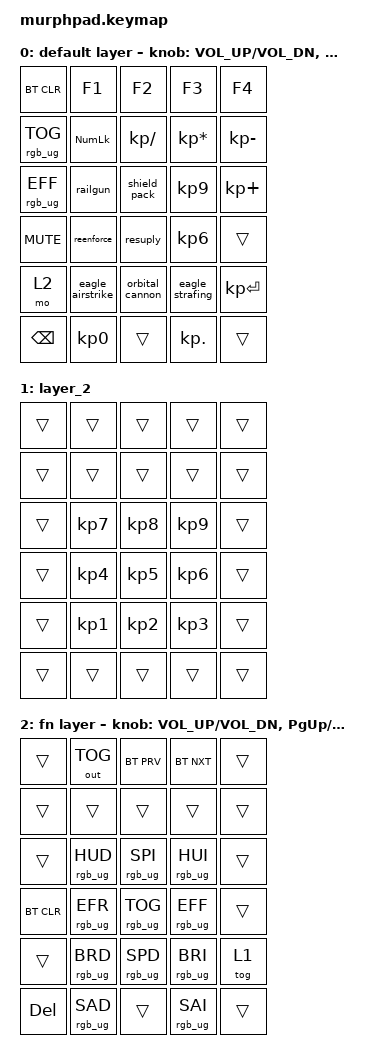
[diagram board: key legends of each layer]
/*
 * Copyright (c) 2021 Kyle McCreery
 *
 * SPDX-License-Identifier: MIT
 */

#include <behaviors.dtsi>
#include <dt-bindings/zmk/bt.h>
#include <dt-bindings/zmk/keys.h>
#include <dt-bindings/zmk/outputs.h>
#include <dt-bindings/zmk/rgb.h>

#define TIMEOUT 300

/* Layer Names*/

#define DEFAULT 0
#define FN      1

&encoder_1 { status = "okay"; };

&encoder_2 { status = "okay"; };

// Macros

/ {
    macros {
        railgun: zed_em_kay {
            compatible = "zmk,behavior-macro";
            wait-ms = <75>;
            #binding-cells = <0>;
            bindings =
                <&macro_press>,
                <&kp LCTRL>,
                <&macro_tap>,
                <&kp S &kp D &kp S &kp W &kp A &kp D>,
                <&macro_release>,
                <&kp LCTRL>;
        };

        shield_pack: shield_pack {
            compatible = "zmk,behavior-macro";
            wait-ms = <75>;
            #binding-cells = <0>;
            bindings =
                <&macro_press>,
                <&kp LCTRL>,
                <&macro_tap>,
                <&kp S &kp W &kp A &kp D &kp A &kp D>,
                <&macro_release>,
                <&kp LCTRL>;

            label = "SHIELD_PACK";
        };

        orbital_cannon: orbital_cannon {
            compatible = "zmk,behavior-macro";
            wait-ms = <75>;
            #binding-cells = <0>;
            bindings =
                <&macro_press>,
                <&kp LCTRL>,
                <&macro_tap>,
                <&kp D &kp W &kp S &kp S &kp D>,
                <&macro_release>,
                <&kp LCTRL>;

            label = "ORBITAL_CANNON";
        };

        eagle_airstrike: eagle_airstrike {
            compatible = "zmk,behavior-macro";
            wait-ms = <75>;
            #binding-cells = <0>;
            bindings =
                <&macro_press>,
                <&kp LCTRL>,
                <&macro_tap>,
                <&kp W &kp D &kp S &kp D>,
                <&macro_release>,
                <&kp LCTRL>;
            label = "EAGLE_AIRSTRIKE";
        };

        eagle_strafing: eagle_strafing {
            compatible = "zmk,behavior-macro";
            wait-ms = <75>;
            #binding-cells = <0>;
            bindings =
                <&macro_press>,
                <&kp LCTRL>,
                <&macro_tap>,
                <&kp W &kp D &kp D>,
                <&macro_release>,
                <&kp LCTRL>;

            label = "EAGLE_STRAFING";
        };

        reenforce: reenforce {
            compatible = "zmk,behavior-macro";
            wait-ms = <75>;
            #binding-cells = <0>;
            bindings =
                <&macro_press>,
                <&kp LCTRL>,
                <&macro_tap>,
                <&kp W &kp S &kp D &kp A &kp W>,
                <&macro_release>,
                <&kp LCTRL>;

            label = "REENFORCE";
        };

        resuply: resuply {
            compatible = "zmk,behavior-macro";
            wait-ms = <75>;
            #binding-cells = <0>;
            bindings =
                <&macro_press>,
                <&kp LCTRL>,
                <&macro_tap>,
                <&kp S &kp S &kp W &kp D>,
                <&macro_release>,
                <&kp LCTRL>;

            label = "RESUPLY";
        };
    };
};

/* Combo Definitions*/

/ {
    combos {
        compatible = "zmk,combos";

        combo_btclr {
            timeout-ms = <TIMEOUT>;
            key-positions = <1 6>;
            bindings = <&bt BT_CLR>;
        };

        combo_reset {
            timeout-ms = <TIMEOUT>;
            key-positions = <1 3>;
            bindings = <&sys_reset>;
        };

        combo_bootloader {
            timeout-ms = <TIMEOUT>;
            key-positions = <1 2>;
            bindings = <&bootloader>;
        };

        combo_bt_nxt {
            timeout-ms = <TIMEOUT>;
            key-positions = <1 4>;
            bindings = <&bt BT_NXT>;
        };
    };

    sensors {
        compatible = "zmk,keymap-sensors";
        sensors = <&encoder_1 &encoder_2>;
    };

    keymap0: keymap {
        compatible = "zmk,keymap";

        default_layer {
            label = "default layer";
            bindings = <
&bt BT_CLR       &kp F1            &kp F2           &kp F3           &kp F4
&rgb_ug RGB_TOG  &kp KP_NUM        &kp KP_DIVIDE    &kp KP_MULTIPLY  &kp KP_MINUS
&rgb_ug RGB_EFF  &railgun          &shield_pack     &kp KP_N9        &kp KP_PLUS
&kp C_MUTE       &reenforce        &resuply         &kp KP_N6        &trans
&mo 2            &eagle_airstrike  &orbital_cannon  &eagle_strafing  &kp KP_ENTER
&kp BSPC         &kp KP_N0         &trans           &kp KP_DOT       &trans
            >;

            sensor-bindings = <&inc_dec_kp C_VOL_UP C_VOL_DN &inc_dec_kp PG_UP PG_DN>;
        };

        layer_2 {
            bindings = <
&trans  &trans     &trans     &trans     &trans
&trans  &trans     &trans     &trans     &trans
&trans  &kp KP_N7  &kp KP_N8  &kp KP_N9  &trans
&trans  &kp KP_N4  &kp KP_N5  &kp KP_N6  &trans
&trans  &kp KP_N1  &kp KP_N2  &kp KP_N3  &trans
&trans  &trans     &trans     &trans     &trans
            >;
        };

        fn_layer {
            label = "fn layer";
            bindings = <
&trans      &out OUT_TOG     &bt BT_PRV       &bt BT_NXT       &trans
&trans      &trans           &trans           &trans           &trans
&trans      &rgb_ug RGB_HUD  &rgb_ug RGB_SPI  &rgb_ug RGB_HUI  &trans
&bt BT_CLR  &rgb_ug RGB_EFR  &rgb_ug RGB_TOG  &rgb_ug RGB_EFF  &trans
&trans      &rgb_ug RGB_BRD  &rgb_ug RGB_SPD  &rgb_ug RGB_BRI  &tog 1
&kp DEL     &rgb_ug RGB_SAD  &trans           &rgb_ug RGB_SAI  &trans
            >;

            sensor-bindings = <&inc_dec_kp C_VOL_UP C_VOL_DN &inc_dec_kp PG_UP PG_DN>;
        };
    };
};
